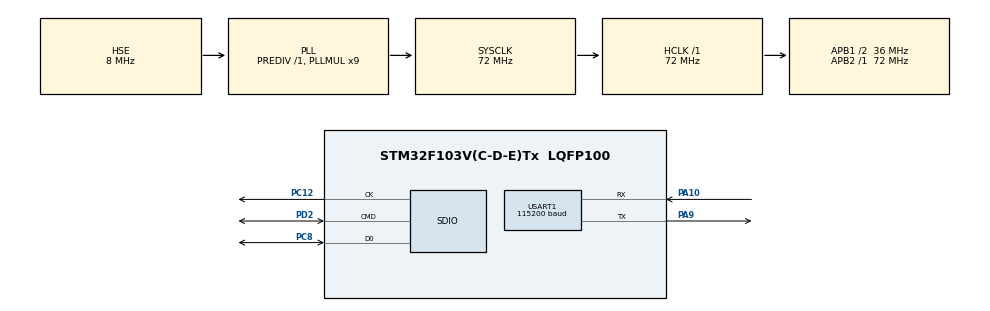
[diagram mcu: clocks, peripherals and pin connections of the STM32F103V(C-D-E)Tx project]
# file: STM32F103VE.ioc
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Dma.Request0=USART1_RX
Dma.USART1_RX.0.Direction=DMA_PERIPH_TO_MEMORY
Dma.USART1_RX.0.Instance=DMA1_Channel5
Dma.USART1_RX.0.MemDataAlignment=DMA_MDATAALIGN_BYTE
Dma.USART1_RX.0.MemInc=DMA_MINC_ENABLE
Dma.USART1_RX.0.Mode=DMA_NORMAL
Dma.USART1_RX.0.PeriphDataAlignment=DMA_PDATAALIGN_BYTE
Dma.USART1_RX.0.PeriphInc=DMA_PINC_DISABLE
Dma.USART1_RX.0.Priority=DMA_PRIORITY_LOW
FREERTOS.Tasks01=defaultTask,0,2048,StartDefaultTask,Default,NULL,Dynamic,NULL,NULL
FREERTOS.configTOTAL_HEAP_SIZE=55440
Mcu.Family=STM32F1
Mcu.Name=STM32F103V(C-D-E)Tx
Mcu.Package=LQFP100
NVIC.DMA1_Channel5_IRQn=true\:5\:0\:false\:false\:true\:true\:false\:true\:true
NVIC.PriorityGroup=NVIC_PRIORITYGROUP_4
NVIC.TIM2_IRQn=true\:15\:0\:false\:false\:true\:false\:false\:true\:true
NVIC.TimeBase=TIM2_IRQn
NVIC.TimeBaseIP=TIM2
NVIC.USART1_IRQn=true\:5\:0\:false\:false\:true\:true\:true\:true\:true
OSC_IN.Mode=HSE-External-Oscillator
OSC_IN.Signal=RCC_OSC_IN
OSC_OUT.Mode=HSE-External-Oscillator
OSC_OUT.Signal=RCC_OSC_OUT
PA10.Mode=Asynchronous
PA10.Signal=USART1_RX
PA13.Mode=Serial_Wire
PA13.Signal=SYS_JTMS-SWDIO
PA14.Mode=Serial_Wire
PA14.Signal=SYS_JTCK-SWCLK
PA9.Mode=Asynchronous
PA9.Signal=USART1_TX
PC12.Mode=SD_1_bit
PC12.Signal=SDIO_CK
PC8.Mode=SD_1_bit
PC8.Signal=SDIO_D0
PD2.Mode=SD_1_bit
PD2.Signal=SDIO_CMD
ProjectManager.HeapSize=0x200
ProjectManager.StackSize=0x400
ProjectManager.TargetToolchain=MDK-ARM V5.32
RCC.AHBFreq_Value=72000000
RCC.APB1CLKDivider=RCC_HCLK_DIV2
RCC.APB1Freq_Value=36000000
RCC.APB1TimFreq_Value=72000000
RCC.APB2Freq_Value=72000000
RCC.APB2TimFreq_Value=72000000
RCC.HCLKFreq_Value=72000000
RCC.PLLMUL=RCC_PLL_MUL9
RCC.PLLSourceVirtual=RCC_PLLSOURCE_HSE
RCC.SYSCLKFreq_VALUE=72000000
RCC.SYSCLKSource=RCC_SYSCLKSOURCE_PLLCLK
RCC.USBFreq_Value=72000000
SDIO.ClockDiv=7
SDIO.ClockPowerSave=SDIO_CLOCK_POWER_SAVE_DISABLE
TIM4.Period=0
TIM4.Prescaler=64
USART1.BaudRate=115200
USART1.VirtualMode=VM_ASYNC
VP_CRC_VS_CRC.Mode=CRC_Activate
VP_FATFS_VS_SDIO.Mode=SDIO
VP_FREERTOS_VS_CMSIS_V1.Mode=CMSIS_V1
VP_SYS_VS_tim2.Mode=TIM2
VP_TIM4_VS_ClockSourceINT.Mode=Internal
board=custom

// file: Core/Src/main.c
/* USER CODE BEGIN Header */
/**
  ******************************************************************************
  * @file           : main.c
  * @brief          : Main program body
  ******************************************************************************
  * @attention
  *
  * Copyright (c) 2023 STMicroelectronics.
  * All rights reserved.
  *
  * This software is licensed under terms that can be found in the LICENSE file
  * in the root directory of this software component.
  * If no LICENSE file comes with this software, it is provided AS-IS.
  *
  ******************************************************************************
  */
/* USER CODE END Header */
#include "main.h"
#include "cmsis_os.h"
#include "crc.h"
#include "dma.h"
#include "fatfs.h"
#include "sdio.h"
#include "tim.h"
#include "usart.h"
#include "gpio.h"

/* USER CODE BEGIN Includes */
#include "../common.h"
/* USER CODE END Includes */

void SystemClock_Config(void);
void MX_FREERTOS_Init(void);

int main(void)
{

  /* MCU Configuration--------------------------------------------------------*/

  /* Reset of all peripherals, Initializes the Flash interface and the Systick. */
  HAL_Init();

  /* Configure the system clock */
  SystemClock_Config();

  /* Initialize all configured peripherals */
  MX_GPIO_Init();
  MX_DMA_Init();
  MX_CRC_Init();
  MX_FATFS_Init();
  MX_SDIO_SD_Init();
  MX_USART1_UART_Init();
  MX_TIM4_Init();

  /* Call init function for freertos objects (in freertos.c) */
  MX_FREERTOS_Init();

  /* Start scheduler */
  osKernelStart();

  /* We should never get here as control is now taken by the scheduler */
  /* Infinite loop */
  while (1)
  {

  }
}

void SystemClock_Config(void)
{
  RCC_OscInitTypeDef RCC_OscInitStruct = {0};
  RCC_ClkInitTypeDef RCC_ClkInitStruct = {0};

  /** Initializes the RCC Oscillators according to the specified parameters
  * in the RCC_OscInitTypeDef structure.
  */
  RCC_OscInitStruct.OscillatorType = RCC_OSCILLATORTYPE_HSE;
  RCC_OscInitStruct.HSEState = RCC_HSE_ON;
  RCC_OscInitStruct.HSEPredivValue = RCC_HSE_PREDIV_DIV1;
  RCC_OscInitStruct.HSIState = RCC_HSI_ON;
  RCC_OscInitStruct.PLL.PLLState = RCC_PLL_ON;
  RCC_OscInitStruct.PLL.PLLSource = RCC_PLLSOURCE_HSE;
  RCC_OscInitStruct.PLL.PLLMUL = RCC_PLL_MUL9;
  if (HAL_RCC_OscConfig(&RCC_OscInitStruct) != HAL_OK)
  {
    Error_Handler();
  }

  /** Initializes the CPU, AHB and APB buses clocks
  */
  RCC_ClkInitStruct.ClockType = RCC_CLOCKTYPE_HCLK|RCC_CLOCKTYPE_SYSCLK
                              |RCC_CLOCKTYPE_PCLK1|RCC_CLOCKTYPE_PCLK2;
  RCC_ClkInitStruct.SYSCLKSource = RCC_SYSCLKSOURCE_PLLCLK;
  RCC_ClkInitStruct.AHBCLKDivider = RCC_SYSCLK_DIV1;
  RCC_ClkInitStruct.APB1CLKDivider = RCC_HCLK_DIV2;
  RCC_ClkInitStruct.APB2CLKDivider = RCC_HCLK_DIV1;

  if (HAL_RCC_ClockConfig(&RCC_ClkInitStruct, FLASH_LATENCY_2) != HAL_OK)
  {
    Error_Handler();
  }
}

void HAL_TIM_PeriodElapsedCallback(TIM_HandleTypeDef *htim)
{
  if (htim->Instance == TIM2) {
    HAL_IncTick();
  }
}

void Error_Handler(void)
{
  __disable_irq();
  while (1)
  {
  }
}

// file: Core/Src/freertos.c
/* USER CODE BEGIN Header */
/**
  ******************************************************************************
  * File Name          : freertos.c
  * Description        : Code for freertos applications
  ******************************************************************************
  * @attention
  *
  * Copyright (c) 2023 STMicroelectronics.
  * All rights reserved.
  *
  * This software is licensed under terms that can be found in the LICENSE file
  * in the root directory of this software component.
  * If no LICENSE file comes with this software, it is provided AS-IS.
  *
  ******************************************************************************
  */
/* USER CODE END Header */

#include "FreeRTOS.h"
#include "task.h"
#include "main.h"
#include "cmsis_os.h"

/* USER CODE BEGIN Includes */
#include "../common.h"
/* USER CODE END Includes */

/* USER CODE BEGIN PTD */
_USER_STR u_str;
/* USER CODE END PTD */

/* USER CODE BEGIN Variables */
TaskHandle_t myTestTaskHandle;
TaskHandle_t debugTaskHandle;
/* USER CODE END Variables */
osThreadId defaultTaskHandle;

/* USER CODE BEGIN FunctionPrototypes */
void myTestTaskFun(void const * argument);
void debugTaskFun(void const * argument);
/* USER CODE END FunctionPrototypes */

void StartDefaultTask(void const * argument);

void MX_FREERTOS_Init(void); /* (MISRA C 2004 rule 8.1) */

/* GetIdleTaskMemory prototype (linked to static allocation support) */
void vApplicationGetIdleTaskMemory( StaticTask_t **ppxIdleTaskTCBBuffer, StackType_t **ppxIdleTaskStackBuffer, uint32_t *pulIdleTaskStackSize );

/* USER CODE BEGIN GET_IDLE_TASK_MEMORY */
static StaticTask_t xIdleTaskTCBBuffer;
static StackType_t xIdleStack[configMINIMAL_STACK_SIZE];

void vApplicationGetIdleTaskMemory( StaticTask_t **ppxIdleTaskTCBBuffer, StackType_t **ppxIdleTaskStackBuffer, uint32_t *pulIdleTaskStackSize )
{
  *ppxIdleTaskTCBBuffer = &xIdleTaskTCBBuffer;
  *ppxIdleTaskStackBuffer = &xIdleStack[0];
  *pulIdleTaskStackSize = configMINIMAL_STACK_SIZE;
  /* place for user code */
}
/* USER CODE END GET_IDLE_TASK_MEMORY */

void MX_FREERTOS_Init(void) {

  /* Create the thread(s) */
  /* definition and creation of defaultTask */
  osThreadDef(defaultTask, StartDefaultTask, osPriorityNormal, 0, 2048);
  defaultTaskHandle = osThreadCreate(osThread(defaultTask), NULL);

  /* USER CODE BEGIN RTOS_THREADS */
  /* add threads, ... */
	osThreadDef(myTestTask, myTestTaskFun, osPriorityNormal, 0, 128);
    myTestTaskHandle = osThreadCreate(osThread(myTestTask), NULL);

	osThreadDef(debugTask, debugTaskFun, osPriorityNormal, 0, 512);
    debugTaskHandle = osThreadCreate(osThread(debugTask), NULL);

  /* USER CODE END RTOS_THREADS */

}

void StartDefaultTask(void const * argument)
{
  /* USER CODE BEGIN StartDefaultTask */

	debug_init();
	fatfs_init_fun();

	//memset( &u_str, 0, sizeof(_USER_STR) );
	//xTaskNotify( debugTaskHandle, 1U<<DEBUG_DEVICE_INIT, eSetBits );
	//fatfs_init_fun();
	//my_fatfs_test_fun();
	//fatfs_test_fun();
  /* Infinite loop */
  for(;;)
  {
	osDelay(1000);
	vTaskDelete( defaultTaskHandle );
  }
  /* USER CODE END StartDefaultTask */
}

/* USER CODE BEGIN Application */
void myTestTaskFun(void const * argument) {
	for(;;) {
		osDelay(2000);
		//printf("...\r\n");
	}
}

void debugTaskFun(void const * argument) {
	uint32_t newBits, oldBits = 0;
	for( ; ; ) {
		xTaskNotifyWait( pdFALSE, portMAX_DELAY, &newBits, portMAX_DELAY );
		oldBits |= newBits;
		if ( oldBits & (1U<<DEBUG_PARSE_DATA) ) {
			oldBits &=~ (1U<<DEBUG_PARSE_DATA);
			debug_parse_data_fun();
		}
	}
}
/* USER CODE END Application */
